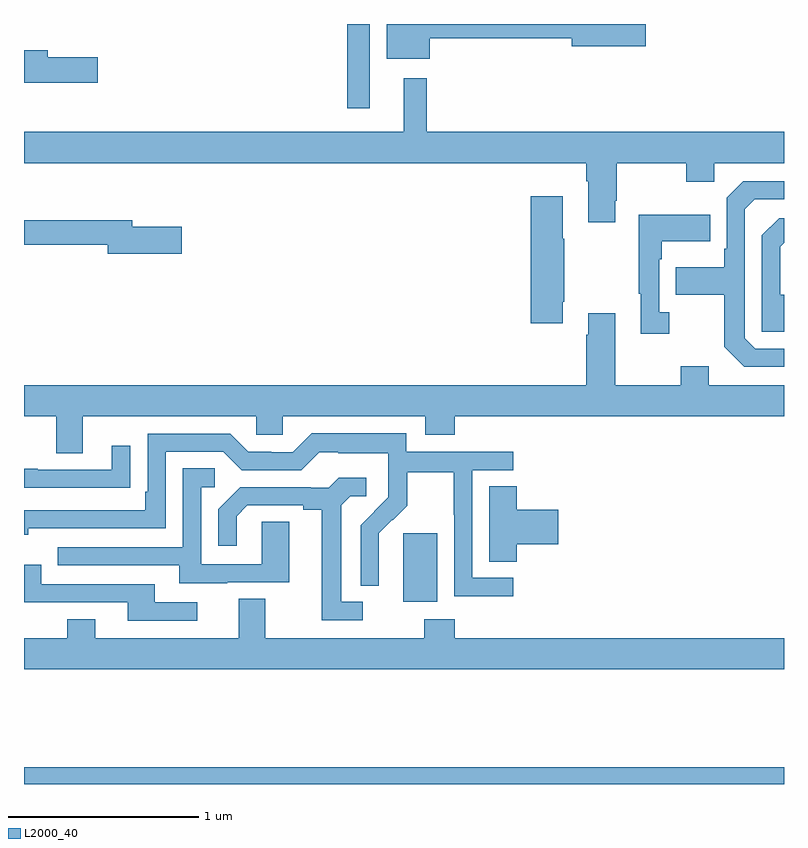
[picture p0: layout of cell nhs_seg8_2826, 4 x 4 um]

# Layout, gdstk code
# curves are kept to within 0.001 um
import gdstk
lib = gdstk.Library(unit=1e-6, precision=1e-09)
def R(c, l, rs):  # rectangles x0, y0, x1, y1
    for r in rs: c.add(gdstk.rectangle(r[:2], r[2:], *l))
def P(c, l, *ps):  # polygons
    for p in ps: c.add(gdstk.Polygon(p, *l))
L2000_40 = (2000, 40)

nhs_seg8_2826 = lib.new_cell('nhs_seg8_2826')
R(nhs_seg8_2826, L2000_40, [(289,1111.9,293,1111.988), (290.996,1112.858,291.175,1113.219), (290.7,1115.457,290.821,1115.9)])
P(nhs_seg8_2826, L2000_40, [(291.136,1115.824),(291.884,1115.824),(291.884,1115.782),(292.273,1115.782),(292.273,1115.9),(290.909,1115.9),(290.909,1115.717),(291.136,1115.717)],
  [(289.387,1115.726),(289.126,1115.726),(289.126,1115.762),(289,1115.762),(289,1115.591),(289.387,1115.591)],
  [(292.111,1114.969),(292.119,1114.969),(292.119,1115.168),(292.486,1115.168),(292.486,1115.069),(292.632,1115.069),(292.632,1115.168),(293,1115.168),(293,1115.332),(291.121,1115.332),(291.121,1115.614),(290.999,1115.614),(290.999,1115.332),(289,1115.332),(289,1115.168),(291.959,1115.168),(291.959,1115.072),(291.971,1115.072),(291.971,1114.857),(292.111,1114.857)],
  [(293,1114.191),(292.848,1114.191),(292.794,1114.245),(292.794,1114.926),(292.845,1114.977),(293,1114.977),(293,1115.073),(292.785,1115.073),(292.698,1114.986),(292.698,1114.717),(292.686,1114.717),(292.686,1114.621),(292.429,1114.621),(292.429,1114.474),(292.686,1114.474),(292.686,1114.201),(292.791,1114.095),(293,1114.095)],
  [(291.835,1114.438),(291.843,1114.438),(291.843,1114.769),(291.835,1114.769),(291.835,1114.993),(291.668,1114.993),(291.668,1114.326),(291.835,1114.326)],
  [(292.396,1114.382),(292.344,1114.382),(292.344,1114.661),(292.357,1114.661),(292.357,1114.757),(292.613,1114.757),(292.613,1114.897),(292.236,1114.897),(292.236,1114.481),(292.247,1114.481),(292.247,1114.269),(292.396,1114.269)],
  [(293,1114.474),(292.98,1114.474),(292.98,1114.728),(293,1114.748),(293,1114.878),(292.974,1114.878),(292.884,1114.788),(292.884,1114.281),(293,1114.281)],
  [(289.831,1114.833),(289.57,1114.833),(289.57,1114.867),(289,1114.867),(289,1114.738),(289.442,1114.738),(289.442,1114.691),(289.831,1114.691)],
  [(289.309,1113.836),(290.223,1113.836),(290.223,1113.738),(290.361,1113.738),(290.361,1113.836),(291.113,1113.836),(291.113,1113.737),(291.266,1113.737),(291.266,1113.836),(293,1113.836),(293,1114),(292.603,1114),(292.603,1114.099),(292.456,1114.099),(292.456,1114),(292.111,1114),(292.111,1114.378),(291.971,1114.378),(291.971,1114.265),(291.959,1114.265),(291.959,1114),(289,1114),(289,1113.836),(289.169,1113.836),(289.169,1113.642),(289.309,1113.642)],
  [(291.574,1112.985),(291.36,1112.985),(291.36,1113.552),(291.574,1113.552),(291.574,1113.648),(291.012,1113.648),(291.012,1113.745),(290.515,1113.745),(290.415,1113.645),(290.3,1113.645),(290.3,1113.648),(290.181,1113.648),(290.085,1113.744),(289.65,1113.744),(289.65,1113.439),(289.637,1113.439),(289.637,1113.342),(289,1113.342),(289,1113.212),(289.022,1113.212),(289.022,1113.246),(289.746,1113.246),(289.746,1113.648),(290.049,1113.648),(290.145,1113.552),(290.46,1113.552),(290.553,1113.645),(290.653,1113.645),(290.653,1113.641),(290.916,1113.641),(290.916,1113.507),(290.918,1113.507),(290.918,1113.41),(290.772,1113.262),(290.772,1112.944),(290.868,1112.944),(290.867,1113.221),(290.937,1113.291),(290.94,1113.288),(291.017,1113.365),(291.017,1113.54),(291.262,1113.54),(291.262,1113.316),(291.264,1113.316),(291.264,1112.887),(291.574,1112.887)],
  [(289.457,1113.46),(289.559,1113.46),(289.559,1113.679),(289.463,1113.679),(289.463,1113.555),(289.073,1113.555),(289.073,1113.56),(289,1113.56),(289,1113.459),(289.457,1113.459)],
  [(290.071,1112.961),(290.395,1112.961),(290.395,1113.281),(290.25,1113.281),(290.25,1113.057),(289.932,1113.057),(289.932,1113.462),(290.005,1113.462),(290.005,1113.563),(289.836,1113.563),(289.836,1113.147),(289.177,1113.147),(289.177,1113.051),(289.817,1113.051),(289.817,1112.957),(290.071,1112.957)],
  [(290.782,1112.859),(290.671,1112.859),(290.671,1113.367),(290.718,1113.414),(290.8,1113.414),(290.8,1113.511),(290.656,1113.511),(290.604,1113.459),(290.51,1113.459),(290.51,1113.462),(290.138,1113.462),(290.022,1113.346),(290.022,1113.153),(290.119,1113.153),(290.119,1113.309),(290.176,1113.366),(290.471,1113.366),(290.471,1113.344),(290.567,1113.344),(290.567,1112.763),(290.782,1112.763)],
  [(291.593,1113.161),(291.811,1113.161),(291.811,1113.344),(291.593,1113.344),(291.593,1113.467),(291.449,1113.467),(291.449,1113.07),(291.593,1113.07)],
  [(289.912,1112.856),(289.687,1112.856),(289.687,1112.952),(289.092,1112.952),(289.092,1113.055),(289,1113.055),(289,1112.856),(289.547,1112.856),(289.547,1112.76),(289.912,1112.76)],
  [(293,1112.668),(291.266,1112.668),(291.266,1112.767),(291.106,1112.767),(291.106,1112.668),(290.269,1112.668),(290.269,1112.876),(290.129,1112.876),(290.129,1112.668),(289.375,1112.668),(289.375,1112.767),(289.228,1112.767),(289.228,1112.668),(289,1112.668),(289,1112.504),(293,1112.504)])

lib.write_gds('nhs_seg8_2826.gds')
